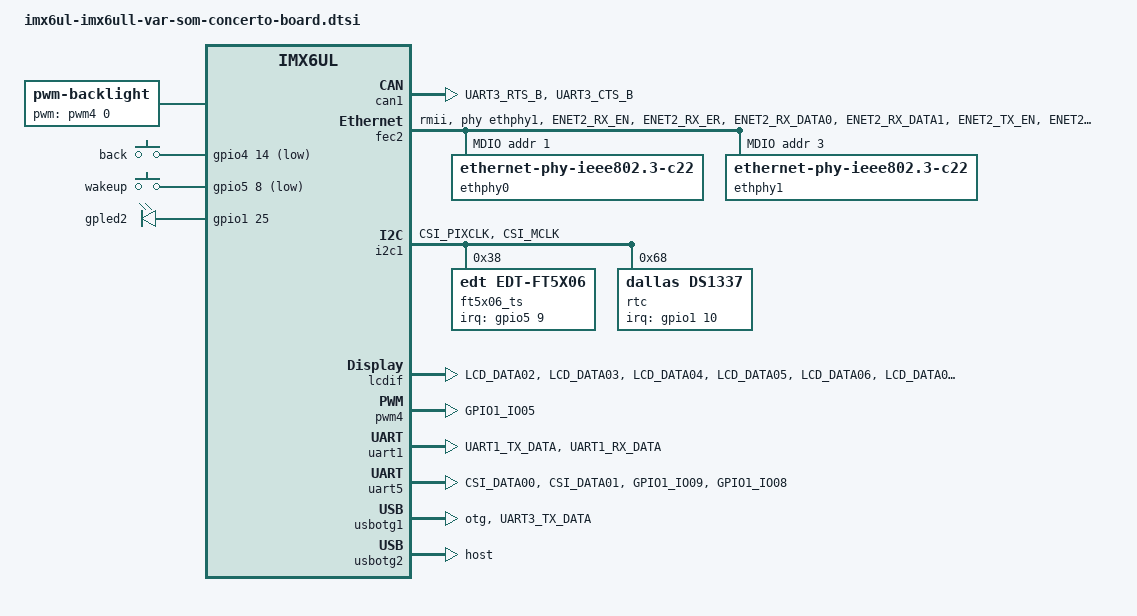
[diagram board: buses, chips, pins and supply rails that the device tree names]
/*
 * Copyright (C) 2019 Variscite Ltd. - https://www.variscite.com
 *
 * This program is free software; you can redistribute it and/or modify
 * it under the terms of the GNU General Public License version 2 as
 * published by the Free Software Foundation.
 */

/ {
	backlight {
		compatible = "pwm-backlight";
		pwms = <&pwm4 0 20000>;
		brightness-levels = <0 4 8 16 32 64 128 255>;
		default-brightness-level = <6>;
		status = "okay";
	};

	chosen {
		stdout-path = &uart1;
	};

	keys {
		compatible = "gpio-keys";
		pinctrl-names = "default";
		pinctrl-0 = <&pinctrl_gpio_keys>, <&pinctrl_gpio_keys_snvs>;

		back {
			gpios = <&gpio4 14 GPIO_ACTIVE_LOW>;
			linux,code = <KEY_BACK>;
		};

		wakeup {
			gpios = <&gpio5 8 GPIO_ACTIVE_LOW>;
			linux,code = <KEY_WAKEUP>;
			gpio-key,wakeup;
		};
	};

	leds {
		compatible = "gpio-leds";
		pinctrl-names = "default";
		pinctrl-0 = <&pinctrl_gpio_leds>;

		gpled2 {
			gpios = <&gpio1 25 GPIO_ACTIVE_HIGH>;
			linux,default-trigger = "heartbeat";
		};
	};
};

&can1 {
	pinctrl-names = "default";
	pinctrl-0 = <&pinctrl_flexcan1>;
	status = "okay";
};

&fec1 {
	pinctrl-0 = <&pinctrl_enet1>, <&pinctrl_enet1_gpio>;
	/delete-node/ mdio;
};

&fec2 {
	pinctrl-names = "default";
	pinctrl-0 = <&pinctrl_enet2>, <&pinctrl_enet2_gpio>, <&pinctrl_enet2_mdio>;
	phy-mode = "rmii";
	phy-handle = <&ethphy1>;
	phy-reset-gpios=<&gpio5 5 GPIO_ACTIVE_LOW>;
	phy-reset-duration=<100>;
	phy-reset-on-resume;
	status = "okay";

	mdio {
		#address-cells = <1>;
		#size-cells = <0>;

		ethphy0: ethernet-phy@1 {
			compatible = "ethernet-phy-ieee802.3-c22";
			micrel,rmii-reference-clock-select-25-mhz;
			micrel,led-mode = <1>;
			clocks = <&rmii_ref_clk>;
			clock-names = "rmii-ref";
			reg = <1>;
		};

		ethphy1: ethernet-phy@3 {
			compatible = "ethernet-phy-ieee802.3-c22";
			micrel,rmii-reference-clock-select-25-mhz;
			micrel,led-mode = <0>;
			clocks = <&rmii_ref_clk>;
			clock-names = "rmii-ref";
			reg = <3>;
		};
	};
};

&i2c1 {
	clock_frequency = <100000>;
	pinctrl-names = "default";
	pinctrl-0 = <&pinctrl_i2c1>;
	status = "okay";

	ft5x06_ts@38 {
		compatible = "edt,edt-ft5x06";
		reg = <0x38>;
		pinctrl-names = "default";
		pinctrl-0 = <&pinctrl_ft5x06_ts_gpio>;
		interrupt-parent = <&gpio5>;
		interrupts = <9 0>;
		touchscreen-size-x = <800>;
		touchscreen-size-y = <480>;
		touchscreen-inverted-x;
		touchscreen-inverted-y;
	};

	/* DS1337 RTC module */
	rtc@0x68 {
		compatible = "dallas,ds1337";
		reg = <0x68>;
		pinctrl-names = "default";
		/*
		 * To actually use this interrupt
		 * connect pins J14.8 & J14.10 on the Concerto-Board
		 */
		pinctrl-0 = <&pinctrl_rtc>;
		interrupt-parent = <&gpio1>;
		interrupts = <10 IRQ_TYPE_EDGE_FALLING>;
	};
};

&iomuxc {
	pinctrl_enet2: enet2grp {
		fsl,pins = <
			MX6UL_PAD_ENET2_RX_EN__ENET2_RX_EN	0x1b0b0
			MX6UL_PAD_ENET2_RX_ER__ENET2_RX_ER	0x1b0b0
			MX6UL_PAD_ENET2_RX_DATA0__ENET2_RDATA00	0x1b0b0
			MX6UL_PAD_ENET2_RX_DATA1__ENET2_RDATA01	0x1b0b0
			MX6UL_PAD_ENET2_TX_EN__ENET2_TX_EN	0x1b0b0
			MX6UL_PAD_ENET2_TX_DATA0__ENET2_TDATA00	0x1b0b0
			MX6UL_PAD_ENET2_TX_DATA1__ENET2_TDATA01	0x1b0b0
			MX6UL_PAD_ENET2_TX_CLK__ENET2_REF_CLK2	0x4001b031
		>;
	};

	pinctrl_enet2_mdio: enet2_mdiogrp {
		fsl,pins = <
			MX6UL_PAD_GPIO1_IO06__ENET2_MDIO	0x1b0b0
			MX6UL_PAD_GPIO1_IO07__ENET2_MDC		0x1b0b0
		>;
	};

	pinctrl_flexcan1: flexcan1grp {
		fsl,pins = <
			MX6UL_PAD_UART3_RTS_B__FLEXCAN1_RX	0x1b020
			MX6UL_PAD_UART3_CTS_B__FLEXCAN1_TX	0x1b020
		>;
	};

	pinctrl_gpio_keys: gpio_keysgrp {
		fsl,pins = <
			MX6UL_PAD_NAND_CE1_B__GPIO4_IO14	0x17059 /* Back */
		>;
	};

	pinctrl_gpio_leds: gpio_ledsgrp {
		fsl,pins = <
			MX6UL_PAD_UART3_RX_DATA__GPIO1_IO25	0x1b0b0	/* GPLED2 */
		>;
	};

	pinctrl_i2c1: i2c1grp {
		fsl,pins = <
			MX6UL_PAD_CSI_PIXCLK__I2C1_SCL		0x4001b8b0
			MX6UL_PAD_CSI_MCLK__I2C1_SDA		0x4001b8b0
		>;
	};

	pinctrl_lcdif_ctrl: lcdifctrlgrp {
		fsl,pins = <
			MX6UL_PAD_LCD_CLK__LCDIF_CLK		0x79
			MX6UL_PAD_LCD_ENABLE__LCDIF_ENABLE	0x79
		>;
	};

	pinctrl_lcdif_dat: lcdifdatgrp {
		fsl,pins = <
			MX6UL_PAD_LCD_DATA02__LCDIF_DATA02	0x79
			MX6UL_PAD_LCD_DATA03__LCDIF_DATA03	0x79
			MX6UL_PAD_LCD_DATA04__LCDIF_DATA04	0x79
			MX6UL_PAD_LCD_DATA05__LCDIF_DATA05	0x79
			MX6UL_PAD_LCD_DATA06__LCDIF_DATA06	0x79
			MX6UL_PAD_LCD_DATA07__LCDIF_DATA07	0x79
			MX6UL_PAD_LCD_DATA10__LCDIF_DATA10	0x79
			MX6UL_PAD_LCD_DATA11__LCDIF_DATA11	0x79
			MX6UL_PAD_LCD_DATA12__LCDIF_DATA12	0x79
			MX6UL_PAD_LCD_DATA13__LCDIF_DATA13	0x79
			MX6UL_PAD_LCD_DATA14__LCDIF_DATA14	0x79
			MX6UL_PAD_LCD_DATA15__LCDIF_DATA15	0x79
			MX6UL_PAD_LCD_DATA18__LCDIF_DATA18	0x79
			MX6UL_PAD_LCD_DATA19__LCDIF_DATA19	0x79
			MX6UL_PAD_LCD_DATA20__LCDIF_DATA20	0x79
			MX6UL_PAD_LCD_DATA21__LCDIF_DATA21	0x79
			MX6UL_PAD_LCD_DATA22__LCDIF_DATA22	0x79
			MX6UL_PAD_LCD_DATA23__LCDIF_DATA23	0x79
		>;
	};

	pinctrl_pwm4: pwm4grp {
		fsl,pins = <
			MX6UL_PAD_GPIO1_IO05__PWM4_OUT		0x110b0
		>;
	};

	pinctrl_rtc: rtcgrp {
		fsl,pins = <
			MX6UL_PAD_JTAG_MOD__GPIO1_IO10		0x1b0b0 /* RTC alarm IRQ */
		>;
	};

	pinctrl_uart1: uart1grp {
		fsl,pins = <
			MX6UL_PAD_UART1_TX_DATA__UART1_DCE_TX	0x1b0b1
			MX6UL_PAD_UART1_RX_DATA__UART1_DCE_RX	0x1b0b1
		>;
	};

	pinctrl_uart5: uart5grp {
		fsl,pins = <
			MX6UL_PAD_CSI_DATA00__UART5_DCE_TX	0x1b0b1
			MX6UL_PAD_CSI_DATA01__UART5_DCE_RX	0x1b0b1
			MX6UL_PAD_GPIO1_IO09__UART5_DCE_CTS	0x1b0b1
			MX6UL_PAD_GPIO1_IO08__UART5_DCE_RTS	0x1b0b1
		>;
	};

	pinctrl_usb_otg1_id: usbotg1idgrp {
		fsl,pins = <
			MX6UL_PAD_UART3_TX_DATA__ANATOP_OTG1_ID	0x17059
		>;
	};

	pinctrl_wdog: wdoggrp {
		fsl,pins = <
			MX6UL_PAD_GPIO1_IO01__WDOG1_WDOG_B	0x78b0
		>;
	};
};

&lcdif {
	pinctrl-names = "default";
	pinctrl-0 = <&pinctrl_lcdif_dat
		     &pinctrl_lcdif_ctrl>;
	display = <&display0>;
	status = "okay";

	display0: display {
		bits-per-pixel = <16>;
		bus-width = <24>;

		display-timings {
			native-mode = <&timing0>;
			timing0: timing0 {
				clock-frequency =<35000000>;
				hactive = <800>;
				vactive = <480>;
				hfront-porch = <40>;
				hback-porch = <40>;
				hsync-len = <48>;
				vback-porch = <29>;
				vfront-porch = <13>;
				vsync-len = <3>;
				hsync-active = <0>;
				vsync-active = <0>;
				de-active = <1>;
				pixelclk-active = <0>;
			};
		};
	};
};

&pwm4 {
	pinctrl-names = "default";
	pinctrl-0 = <&pinctrl_pwm4>;
	status = "okay";
};

&snvs_pwrkey {
	status = "disabled";
};

&tsc {
	/*
	 * Conflics with wdog1 ext-reset-output & SD CD pins,
	 * so we keep it disabled by default
	 */
	status = "disabled";
};

/* Console UART */
&uart1 {
	pinctrl-names = "default";
	pinctrl-0 = <&pinctrl_uart1>;
	status = "okay";
};

/* ttymxc4 UART */
&uart5 {
	pinctrl-names = "default";
	pinctrl-0 = <&pinctrl_uart5>;
	fsl,uart-has-rtscts;
	status = "okay";
};

&usbotg1 {
	pinctrl-names = "default";
	pinctrl-0 = <&pinctrl_usb_otg1_id>;
	dr_mode = "otg";
	status = "okay";
};

&usbotg2 {
	dr_mode = "host";
	status = "okay";
};

&wdog1 {
	pinctrl-names = "default";
	pinctrl-0 = <&pinctrl_wdog>;
	/*
	 * To actually use ext-reset-output
	 * connect pins J17.3 & J17.8 on the Concerto-Board
	 */
	fsl,ext-reset-output;
};
